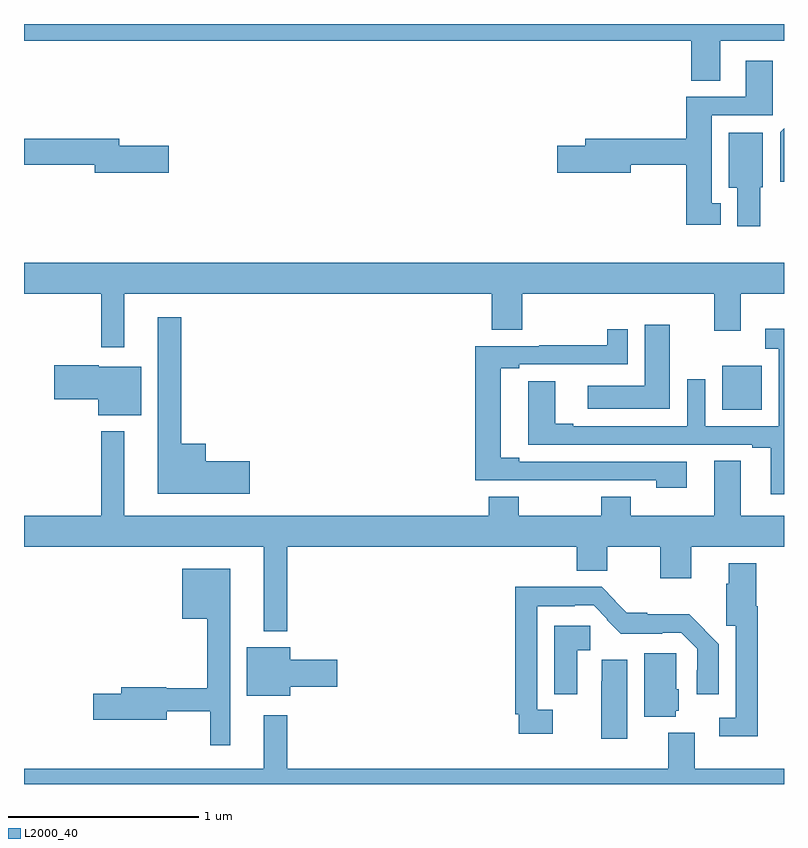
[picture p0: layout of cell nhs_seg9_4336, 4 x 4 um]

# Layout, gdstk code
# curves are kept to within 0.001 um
import gdstk
lib = gdstk.Library(unit=1e-6, precision=1e-09)
def R(c, l, rs):  # rectangles x0, y0, x1, y1
    for r in rs: c.add(gdstk.rectangle(r[:2], r[2:], *l))
def P(c, l, *ps):  # polygons
    for p in ps: c.add(gdstk.Polygon(p, *l))
L2000_40 = (2000, 40)

nhs_seg9_4336 = lib.new_cell('nhs_seg9_4336')
R(nhs_seg9_4336, L2000_40, [(362.675,1202.471,362.884,1202.701)])
P(nhs_seg9_4336, L2000_40, [(362.665,1204.412),(363,1204.412),(363,1204.5),(359,1204.5),(359,1204.412),(362.513,1204.412),(362.513,1204.201),(362.665,1204.201)],
  [(362.668,1203.557),(362.62,1203.557),(362.62,1204.02),(362.941,1204.02),(362.941,1204.306),(362.798,1204.306),(362.798,1204.116),(362.486,1204.116),(362.486,1203.896),(361.955,1203.896),(361.955,1203.86),(361.806,1203.86),(361.806,1203.718),(362.194,1203.718),(362.194,1203.76),(362.486,1203.76),(362.486,1203.444),(362.668,1203.444)],
  [(363,1203.951),(362.979,1203.93),(362.979,1203.669),(363,1203.669)],
  [(362.875,1203.642),(362.887,1203.642),(362.887,1203.928),(362.708,1203.928),(362.708,1203.638),(362.753,1203.638),(362.753,1203.435),(362.875,1203.435)],
  [(359.761,1203.86),(359.5,1203.86),(359.5,1203.896),(359,1203.896),(359,1203.76),(359.372,1203.76),(359.372,1203.718),(359.761,1203.718)],
  [(359.527,1203.08),(361.463,1203.08),(361.463,1202.89),(361.623,1202.89),(361.623,1203.08),(362.633,1203.08),(362.633,1202.886),(362.773,1202.886),(362.773,1203.08),(363,1203.08),(363,1203.244),(359,1203.244),(359,1203.08),(359.406,1203.08),(359.406,1202.799),(359.527,1202.799)],
  [(360.187,1202.198),(359.956,1202.198),(359.956,1202.29),(359.827,1202.29),(359.827,1202.956),(359.705,1202.956),(359.705,1202.027),(360.187,1202.027)],
  [(362.398,1202.917),(362.267,1202.917),(362.267,1202.596),(361.968,1202.596),(361.968,1202.474),(362.398,1202.474)],
  [(363,1202.896),(362.901,1202.896),(362.901,1202.79),(362.973,1202.79),(362.973,1202.382),(362.586,1202.382),(362.586,1202.629),(362.49,1202.629),(362.49,1202.382),(361.891,1202.382),(361.891,1202.395),(361.795,1202.395),(361.795,1202.62),(361.655,1202.62),(361.655,1202.286),(362.834,1202.286),(362.834,1202.271),(362.93,1202.271),(362.93,1202.025),(363,1202.025)],
  [(362.488,1202.196),(361.606,1202.196),(361.606,1202.216),(361.51,1202.216),(361.51,1202.689),(361.606,1202.689),(361.606,1202.709),(362.178,1202.709),(362.178,1202.893),(362.07,1202.893),(362.07,1202.81),(361.711,1202.81),(361.711,1202.805),(361.376,1202.805),(361.376,1202.1),(361.693,1202.1),(361.693,1202.099),(361.949,1202.099),(361.949,1202.1),(362.327,1202.1),(362.327,1202.06),(362.488,1202.06)],
  [(359.617,1202.695),(359.394,1202.695),(359.394,1202.703),(359.16,1202.703),(359.16,1202.525),(359.39,1202.525),(359.39,1202.441),(359.617,1202.441)],
  [(360.385,1201.748),(361.91,1201.748),(361.91,1201.622),(362.071,1201.622),(362.071,1201.748),(362.348,1201.748),(362.348,1201.584),(362.512,1201.584),(362.512,1201.748),(363,1201.748),(363,1201.912),(362.773,1201.912),(362.773,1202.201),(362.633,1202.201),(362.633,1201.912),(362.193,1201.912),(362.193,1202.011),(362.038,1202.011),(362.038,1201.912),(361.605,1201.912),(361.605,1202.011),(361.445,1202.011),(361.445,1201.912),(359.527,1201.912),(359.527,1202.356),(359.406,1202.356),(359.406,1201.912),(359,1201.912),(359,1201.748),(360.263,1201.748),(360.263,1201.304),(360.385,1201.304)],
  [(362.861,1201.435),(362.855,1201.435),(362.855,1201.663),(362.708,1201.663),(362.708,1201.553),(362.696,1201.553),(362.696,1201.332),(362.745,1201.332),(362.745,1200.849),(362.658,1200.849),(362.658,1200.752),(362.861,1200.752)],
  [(360.085,1201.633),(359.834,1201.633),(359.834,1201.37),(359.964,1201.37),(359.964,1201.003),(359.748,1201.003),(359.748,1201.01),(359.513,1201.01),(359.513,1200.974),(359.364,1200.974),(359.364,1200.839),(359.752,1200.839),(359.752,1200.882),(359.981,1200.882),(359.981,1200.705),(360.085,1200.705)],
  [(361.784,1200.892),(361.701,1200.892),(361.701,1201.436),(361.898,1201.436),(361.898,1201.44),(361.998,1201.44),(362.07,1201.368),(362.067,1201.365),(362.141,1201.292),(362.36,1201.292),(362.36,1201.296),(362.46,1201.296),(362.544,1201.212),(362.544,1201.099),(362.54,1201.099),(362.54,1200.972),(362.656,1200.972),(362.656,1201.236),(362.501,1201.393),(362.281,1201.393),(362.281,1201.401),(362.173,1201.401),(362.111,1201.463),(362.113,1201.465),(362.041,1201.537),(361.585,1201.537),(361.585,1200.868),(361.605,1200.868),(361.605,1200.764),(361.784,1200.764)],
  [(361.912,1201.205),(361.981,1201.205),(361.981,1201.334),(361.79,1201.334),(361.79,1200.973),(361.912,1200.973)],
  [(360.4,1201.012),(360.649,1201.012),(360.649,1201.154),(360.4,1201.154),(360.4,1201.219),(360.173,1201.219),(360.173,1200.965),(360.4,1200.965)],
  [(362.43,1200.885),(362.446,1200.885),(362.446,1200.999),(362.433,1200.999),(362.433,1201.188),(362.264,1201.188),(362.264,1200.854),(362.43,1200.854)],
  [(362.176,1201.153),(362.042,1201.153),(362.042,1201.04),(362.039,1201.04),(362.039,1200.738),(362.176,1200.738)],
  [(363,1200.58),(362.53,1200.58),(362.53,1200.769),(362.39,1200.769),(362.39,1200.58),(360.385,1200.58),(360.385,1200.862),(360.263,1200.862),(360.263,1200.58),(359,1200.58),(359,1200.5),(363,1200.5)])

lib.write_gds('nhs_seg9_4336.gds')
